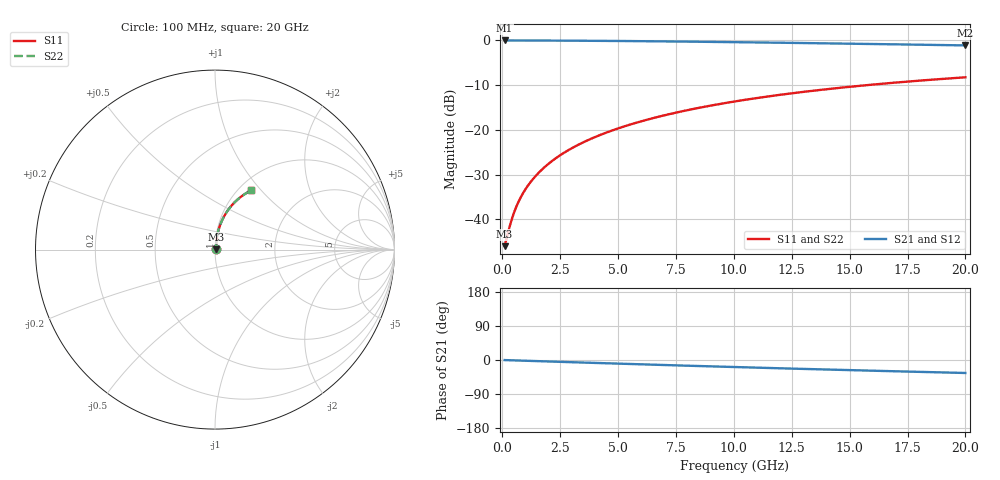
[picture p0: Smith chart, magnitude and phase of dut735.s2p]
! Touchstone file exported from HFSS 2024.1.0
!  File:  C:/UserFiles/LocalFiles/RDL_TSV_Batchsim/temp_RDL_top_735_1779851198.aedt
!  Generated:  11:09:09 AM May 27, 2026
!  Design:  RDL_top
!  Project:  temp_RDL_top_735_1779851198
!  Setup:  Setup1
!  Solution:  Sweep
! Variables:
!  dtsv = 10.80580581um
!  hbump = 3um
!  htsv = 51.02um
!  ldown = 100um
!  lrdl = 445.07um
!  p = 40
!  p1 = 42.21um
!  rhole = 1um
!  t = 450um
!  tdown = 3.915915916um
!  trdl = 2.62um
!  wdown = 15.38538539um
!  wrdl = 13.71um
# GHz S MA R 50.000000
! Terminal data exported
! Port[1] = Box2_T1
! Port[2] = Box2_T2
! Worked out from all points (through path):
!   200 points, 100 MHz to 20 GHz, reference 50 ohm
!   highest |S21| = -0.04 dB at 100 MHz (marker M1); lowest = -1.1 dB at 20 GHz (marker M2)
!   group delay of S21, straight-line fit = 4.75 ps
!   lowest |S11| = -46.0 dB at 100 MHz (marker M3), VSWR 1.01, Z = 50.5 + j0.22 ohm
!   |S11| at or under -10 dB: start of sweep to 15.77 GHz
!   |S22| runs from -46.0 to -8.3 dB; largest |S21 - S12| = 2.3e-15
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0.1  0.005038 25.7  0.9955 -0.2  0.9955 -0.2  0.005038 25.7
! Gamma 0 0 0 0
! Port Impedance 50 0 50 0
0.3  0.008026 54.1  0.9953 -0.6  0.9953 -0.6  0.008026 54.1
0.4  0.009885 60.8  0.9952 -0.8  0.9952 -0.8  0.009885 60.8
0.5  0.01182 65.2  0.995 -1.0  0.995 -1.0  0.01182 65.2
0.6  0.01378 68.3  0.9949 -1.2  0.9949 -1.2  0.01378 68.3
0.7  0.01576 70.6  0.9947 -1.4  0.9947 -1.4  0.01576 70.6
0.9  0.01974 73.7  0.9944 -1.8  0.9944 -1.8  0.01974 73.7
1.2  0.02574 76.6  0.994 -2.4  0.994 -2.4  0.02574 76.6
1.4  0.02977 77.8  0.9936 -2.8  0.9936 -2.8  0.02977 77.8
1.7  0.03583 79.1  0.9931 -3.3  0.9931 -3.3  0.03583 79.1
2.2  0.046 80.3  0.992 -4.3  0.992 -4.3  0.046 80.3
2.8  0.0583 80.9  0.9905 -5.5  0.9905 -5.5  0.0583 80.9
3.5  0.07273 80.9  0.9883 -6.8  0.9883 -6.8  0.07273 80.9
4.2  0.08722 80.7  0.9857 -8.1  0.9857 -8.1  0.08722 80.7
5  0.1038 80.1  0.9823 -9.6  0.9823 -9.6  0.1038 80.1
5.9  0.1226 79.2  0.978 -11.3  0.978 -11.3  0.1226 79.2
6.8  0.1413 78.1  0.9732 -12.9  0.9732 -12.9  0.1413 78.1
8.4  0.1743 76.0  0.9638 -15.8  0.9638 -15.8  0.1743 76.0
10.1  0.2088 73.5  0.9526 -18.7  0.9526 -18.7  0.2088 73.5
13.4  0.2731 68.5  0.9288 -24.2  0.9288 -24.2  0.273 68.5
16.7  0.3324 63.4  0.9031 -29.4  0.9031 -29.4  0.3324 63.4
20  0.3862 58.6  0.8765 -34.3  0.8765 -34.3  0.3862 58.6
